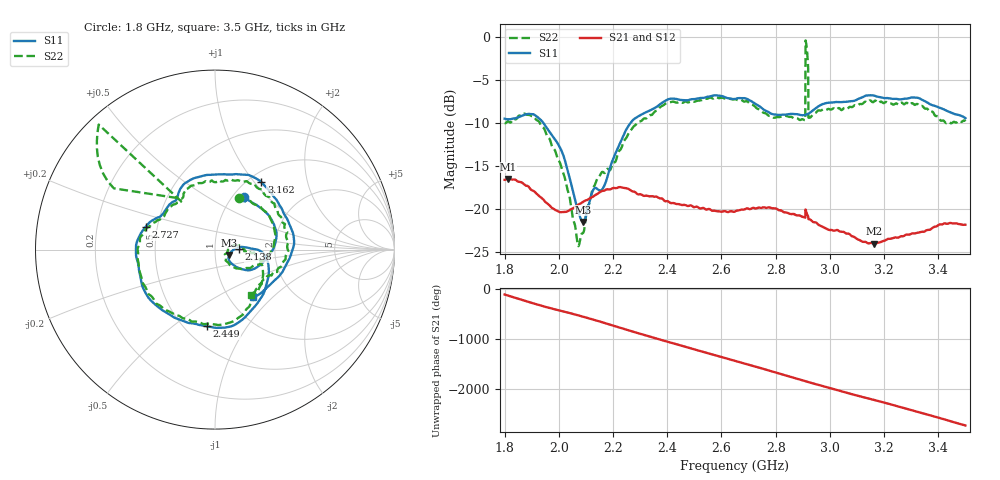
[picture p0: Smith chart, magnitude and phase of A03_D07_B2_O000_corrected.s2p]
! Created with skrf 1.9.0 (http://scikit-rf.org).
# Hz S RI R 50.0
!freq ReS11 ImS11 ReS21 ImS21 ReS12 ImS12 ReS22 ImS22
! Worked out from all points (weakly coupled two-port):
!   1601 points, 1.8 GHz to 3.5 GHz, reference 50 ohm
!   highest |S21| = -16.50 dB at 1.813 GHz (marker M1); lowest = -24.0 dB at 3.164 GHz (marker M2)
!   lowest |S11| = -21.5 dB at 2.09 GHz (marker M3), VSWR 1.18, Z = 58.4 - j3.56 ohm
!   |S11| at or under -10 dB: 1.943 GHz to 2.264 GHz (321.1 MHz wide, 15.3 % of centre)
!   |S22| runs from -24.3 to -0.4 dB; largest |S21 - S12| = 0.0029
!   S11 on the Smith chart (normalised r, x): 1.8 GHz: 1.12, +0.74; 2.138 GHz: 1.31, +0.01; 2.449 GHz: 0.64, -0.67; 2.727 GHz: 0.43, +0.13; 3.162 GHz: 1.14, +1.09; 3.5 GHz: 1.28, -0.76
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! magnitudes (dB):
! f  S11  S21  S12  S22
! 1.8 GHz  -9.5  -16.6  -16.6  -10.0
! 1.813 GHz  -9.6  -16.5  -16.5  -9.8
! 1.942 GHz  -10.0  -18.8  -18.9  -10.5
! 2.013 GHz  -13.4  -20.3  -20.3  -15.5
! 2.069 GHz  -19.9  -19.5  -19.5  -23.9
! 2.084 GHz  -21.3  -19.3  -19.2  -22.9
! 2.09 GHz  -21.5  -19.1  -19.2  -22.7
! 2.138 GHz  -17.5  -18.3  -18.3  -16.8
! 2.166 GHz  -17.4  -17.9  -17.8  -15.8
! 2.264 GHz  -10.0  -17.8  -17.8  -10.9
! 2.367 GHz  -8.0  -18.7  -18.6  -8.4
! 2.449 GHz  -7.3  -19.5  -19.5  -7.6
! 2.65 GHz  -7.2  -20.2  -20.2  -7.2
! 2.727 GHz  -7.8  -19.9  -19.9  -8.2
! 2.901 GHz  -9.1  -20.9  -20.9  -9.6
! 2.911 GHz  -9.0  -20.1  -20.1  -0.6
! 2.919 GHz  -8.9  -20.8  -20.8  -3.0
! 2.934 GHz  -8.6  -21.4  -21.4  -9.2
! 3.162 GHz  -6.8  -24.0  -23.9  -7.5
! 3.164 GHz  -6.8  -24.0  -23.9  -7.5
! 3.217 GHz  -7.1  -23.4  -23.4  -7.8
! 3.5 GHz  -9.4  -21.8  -21.8  -9.8
